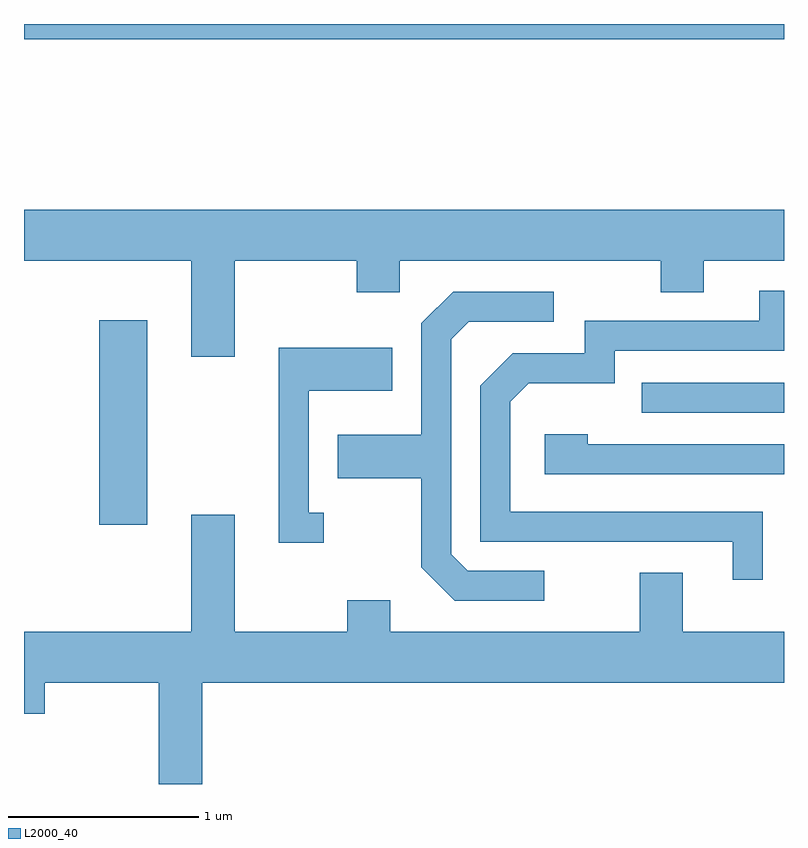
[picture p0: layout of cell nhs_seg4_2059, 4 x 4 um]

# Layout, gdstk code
import gdstk
lib = gdstk.Library(unit=1e-6, precision=1e-09)
def R(c, l, rs):  # rectangles x0, y0, x1, y1
    for r in rs: c.add(gdstk.rectangle(r[:2], r[2:], *l))
def P(c, l, *ps):  # polygons
    for p in ps: c.add(gdstk.Polygon(p, *l))
L2000_40 = (2000, 40)

nhs_seg4_2059 = lib.new_cell('nhs_seg4_2059')
R(nhs_seg4_2059, L2000_40, [(246.006,1293.346,246.259,1294.424), (248.863,1293.936,249.611,1294.094), (245.611,1295.901,249.611,1295.982)])
P(nhs_seg4_2059, L2000_40, [(246.719,1294.736),(247.361,1294.736),(247.361,1294.571),(247.589,1294.571),(247.589,1294.736),(248.961,1294.736),(248.961,1294.571),(249.189,1294.571),(249.189,1294.736),(249.611,1294.736),(249.611,1295.004),(245.611,1295.004),(245.611,1294.736),(246.491,1294.736),(246.491,1294.231),(246.719,1294.231)],
  [(249.499,1293.414),(248.169,1293.414),(248.169,1293.994),(248.267,1294.091),(248.719,1294.091),(248.719,1294.261),(249.611,1294.261),(249.611,1294.579),(249.481,1294.579),(249.481,1294.419),(248.561,1294.419),(248.561,1294.249),(248.184,1294.249),(248.011,1294.077),(248.011,1293.256),(249.341,1293.256),(249.341,1293.058),(249.499,1293.058)],
  [(248.348,1293.104),(247.947,1293.104),(247.859,1293.192),(247.859,1294.324),(247.952,1294.416),(248.398,1294.416),(248.398,1294.574),(247.869,1294.574),(247.701,1294.407),(247.701,1293.819),(247.261,1293.819),(247.261,1293.591),(247.701,1293.591),(247.701,1293.124),(247.879,1292.946),(248.348,1292.946)],
  [(247.188,1293.409),(247.109,1293.409),(247.109,1294.051),(247.549,1294.051),(247.549,1294.279),(246.951,1294.279),(246.951,1293.251),(247.188,1293.251)],
  [(249.611,1293.769),(248.579,1293.769),(248.579,1293.824),(248.351,1293.824),(248.351,1293.611),(249.611,1293.611)],
  [(249.611,1292.784),(249.079,1292.784),(249.079,1293.094),(248.851,1293.094),(248.851,1292.784),(247.539,1292.784),(247.539,1292.949),(247.311,1292.949),(247.311,1292.784),(246.719,1292.784),(246.719,1293.399),(246.491,1293.399),(246.491,1292.784),(245.611,1292.784),(245.611,1292.351),(245.719,1292.351),(245.719,1292.516),(246.321,1292.516),(246.321,1291.982),(246.549,1291.982),(246.549,1292.516),(249.611,1292.516)])

lib.write_gds('nhs_seg4_2059.gds')
